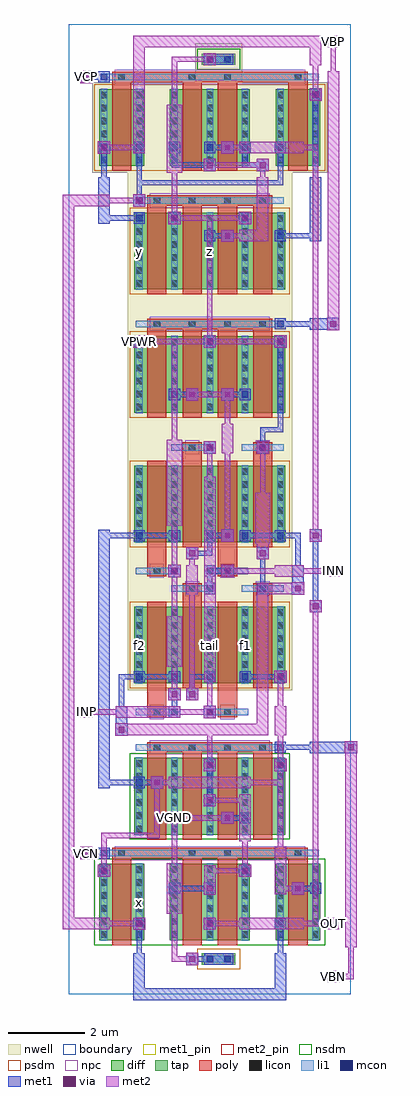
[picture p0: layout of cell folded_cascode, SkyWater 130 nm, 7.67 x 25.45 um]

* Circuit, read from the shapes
.subckt folded_cascode INN INP OUT VBN VBP VCN VCP VGND VPWR f1 f2 tail x y z
XM1 x VCN f1 VGND sky130_fd_pr__nfet_01v8 w=2 l=0.5 m=2
XM2 VGND VBN f1 VGND sky130_fd_pr__nfet_01v8 w=2 l=0.5 m=2
XM3 OUT VCN f2 VGND sky130_fd_pr__nfet_01v8 w=2 l=0.5 m=2
XM4 f2 VBN VGND VGND sky130_fd_pr__nfet_01v8 w=2 l=0.5 m=2
XM5 x VCP y VPWR sky130_fd_pr__pfet_01v8 w=2 l=0.5 m=2
XM6 f2 VPWR f2 VPWR sky130_fd_pr__pfet_01v8 w=2 l=0.5 m=2
XM7 f1 VPWR f1 VPWR sky130_fd_pr__pfet_01v8 w=2 l=0.5 m=2
XM8 tail VBP VPWR VPWR sky130_fd_pr__pfet_01v8 w=2 l=0.5 m=4
XM9 VPWR x y VPWR sky130_fd_pr__pfet_01v8 w=2 l=0.5 m=2
XM10 tail INN f2 VPWR sky130_fd_pr__pfet_01v8 w=2 l=0.5 m=2
XM11 tail INP f1 VPWR sky130_fd_pr__pfet_01v8 w=2 l=0.5 m=2
XM12 z x VPWR VPWR sky130_fd_pr__pfet_01v8 w=2 l=0.5 m=2
XM13 OUT VCP z VPWR sky130_fd_pr__pfet_01v8 w=2 l=0.5 m=2
.ends

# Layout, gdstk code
import gdstk
lib = gdstk.Library(unit=1e-6, precision=1e-09)
def R(c, l, rs):  # rectangles x0, y0, x1, y1
    for r in rs: c.add(gdstk.rectangle(r[:2], r[2:], *l))
def A(c, l, x, y, w, h, nx, ny, dx, dy):  # array of equal rectangles
    R(c, l, [(x+i*dx, y+j*dy, x+i*dx+w, y+j*dy+h) for i in range(nx) for j in range(ny)])
nwell = (64, 20)
diff = (65, 20)
tap = (65, 44)
poly = (66, 20)
licon = (66, 44)
li1 = (67, 20)
mcon = (67, 44)
met1_pin = (68, 16)
met1 = (68, 20)
via = (68, 44)
met2_pin = (69, 16)
met2 = (69, 20)
nsdm = (93, 44)
psdm = (94, 20)
npc = (95, 20)
boundary = (235, 4)

folded_cascode = lib.new_cell('folded_cascode')
R(folded_cascode, nwell, [(1.535,7.925,5.825,21.42), (0.615,21.42,6.745,23.78), (3.295,23.78,4.525,24.8)])
R(folded_cascode, diff, [(0.795,1.405,1.965,3.405), (2.635,1.405,4.725,3.405), (5.395,1.405,6.565,3.405), (1.715,4.165,5.645,6.165), (1.715,8.105,5.645,10.105), (1.715,11.785,5.645,13.785), (1.715,15.16,5.645,17.16), (1.715,18.38,5.645,20.38), (0.795,21.6,1.965,23.6), (2.635,21.6,4.725,23.6), (5.395,21.6,6.565,23.6)])
R(folded_cascode, tap, [(3.475,0.775,4.345,1.065), (3.475,24.235,4.345,24.525)])
A(folded_cascode, poly, 2.05, 4.035, 0.5, 2.405, 4, 1, 0.92, 0)
A(folded_cascode, poly, 2.05, 15.03, 0.5, 2.45, 4, 2, 0.92, 3.22)
R(folded_cascode, poly, [(1.13,1.275,1.63,3.68), (2.97,1.275,3.47,3.68), (3.89,1.275,4.39,3.68), (5.73,1.275,6.23,3.68), (1.13,3.545,6.23,3.815), (2.05,6.305,5.31,6.575), (2.05,7.225,2.55,7.495), (3.89,7.225,4.39,7.495), (2.05,7.36,2.55,10.235), (3.89,7.36,4.39,10.235), (2.97,7.975,3.47,10.58), (4.81,7.975,5.31,10.58), (2.97,10.445,3.47,10.715), (4.81,10.445,5.31,10.715), (2.05,10.905,2.55,11.175), (3.89,10.905,4.39,11.175), (2.05,11.04,2.55,13.915), (3.89,11.04,4.39,13.915), (2.97,11.655,3.47,14.26), (4.81,11.655,5.31,14.26), (2.97,14.125,3.47,14.395), (4.81,14.125,5.31,14.395), (2.05,17.345,5.31,17.615), (2.05,20.565,5.31,20.835), (1.13,21.47,1.63,23.92), (2.97,21.47,3.47,23.92), (3.89,21.47,4.39,23.92), (5.73,21.47,6.23,23.92), (1.13,23.785,6.23,24.055)])
A(folded_cascode, licon, 0.835, 1.47, 0.17, 0.17, 7, 6, 0.92, 0.34)
A(folded_cascode, licon, 4.055, 3.595, 0.17, 0.17, 1, 3, 0, 3.68)
A(folded_cascode, licon, 1.755, 4.23, 0.17, 0.17, 5, 6, 0.92, 0.34)
A(folded_cascode, licon, 2.215, 6.355, 0.17, 0.17, 4, 2, 0.92, 11.04)
A(folded_cascode, licon, 1.755, 8.17, 0.17, 0.17, 5, 6, 0.92, 0.34)
A(folded_cascode, licon, 1.755, 11.85, 0.17, 0.17, 5, 6, 0.92, 0.34)
A(folded_cascode, licon, 1.755, 15.225, 0.17, 0.17, 5, 6, 0.92, 0.34)
A(folded_cascode, licon, 1.755, 18.445, 0.17, 0.17, 5, 6, 0.92, 0.34)
A(folded_cascode, licon, 2.215, 20.615, 0.17, 0.17, 4, 1, 0.92, 0)
A(folded_cascode, licon, 0.835, 21.665, 0.17, 0.17, 7, 6, 0.92, 0.34)
R(folded_cascode, licon, [(3.595,0.835,3.765,1.005), (4.055,0.835,4.225,1.005), (1.295,3.595,1.465,3.765), (3.135,3.595,3.305,3.765), (5.895,3.595,6.065,3.765), (2.215,7.275,2.385,7.445), (3.135,10.495,3.305,10.665), (4.975,10.495,5.145,10.665), (2.215,10.955,2.385,11.125), (3.135,14.175,3.305,14.345), (4.975,14.175,5.145,14.345), (1.295,23.835,1.465,24.005), (3.135,23.835,3.305,24.005), (4.055,23.835,4.225,24.005), (5.895,23.835,6.065,24.005), (3.595,24.295,3.765,24.465), (4.055,24.295,4.225,24.465)])
A(folded_cascode, li1, 0.835, 1.39, 0.17, 2.03, 7, 2, 0.92, 20.195)
A(folded_cascode, li1, 1.755, 4.15, 0.17, 2.03, 5, 2, 0.92, 3.94)
A(folded_cascode, li1, 1.755, 11.77, 0.17, 2.03, 5, 2, 0.92, 3.375)
A(folded_cascode, li1, 1.755, 18.365, 0.17, 2.03, 5, 1, 0.92, 0)
R(folded_cascode, li1, [(3.515,0.835,4.305,1.005), (0.835,3.595,6.525,3.765), (1.755,6.355,5.605,6.525), (1.755,7.275,2.845,7.445), (3.595,7.275,4.685,7.445), (2.675,10.495,3.765,10.665), (4.515,10.495,5.605,10.665), (1.755,10.955,2.845,11.125), (3.595,10.955,4.685,11.125), (2.675,14.175,3.765,14.345), (4.515,14.175,5.605,14.345), (1.755,17.395,5.605,17.565), (1.755,20.615,5.605,20.785), (0.835,23.835,6.525,24.005), (3.515,24.295,4.305,24.465)])
A(folded_cascode, mcon, 1.755, 1.755, 0.17, 0.17, 3, 2, 1.84, 15.18)
A(folded_cascode, mcon, 1.755, 8.195, 0.17, 0.17, 5, 2, 0.92, 3.68)
A(folded_cascode, mcon, 2.675, 10.955, 0.17, 0.17, 1, 3, 0, 4.6)
A(folded_cascode, mcon, 0.835, 21.995, 0.17, 0.17, 6, 1, 0.92, 0)
R(folded_cascode, mcon, [(3.595,0.835,3.765,1.005), (4.055,0.835,4.225,1.005), (2.675,2.675,2.845,2.845), (6.355,2.675,6.525,2.845), (0.835,3.135,1.005,3.305), (4.515,3.135,4.685,3.305), (0.835,3.595,1.005,3.765), (2.675,4.515,2.845,4.685), (4.515,4.515,4.685,4.685), (1.755,5.435,1.925,5.605), (3.595,5.895,3.765,6.065), (5.435,5.895,5.605,6.065), (5.435,6.355,5.605,6.525), (2.675,7.275,2.845,7.445), (3.595,7.275,3.765,7.445), (3.595,10.495,3.765,10.665), (4.975,10.495,5.145,10.665), (3.595,10.955,3.765,11.125), (3.595,14.175,3.765,14.345), (4.975,14.175,5.145,14.345), (4.515,15.555,4.685,15.725), (5.435,17.395,5.605,17.565), (3.595,19.695,3.765,19.865), (5.435,19.695,5.605,19.865), (1.755,20.155,1.925,20.325), (4.515,20.155,4.685,20.325), (1.755,20.615,1.925,20.785), (6.355,23.375,6.525,23.545), (0.835,23.835,1.005,24.005), (3.595,24.295,3.765,24.465), (4.055,24.295,4.225,24.465)])
R(folded_cascode, met1_pin, [(2.615,4.455,2.905,4.745), (1.695,16.875,1.985,17.165)])
A(folded_cascode, met1, 1.695, 1.695, 0.29, 0.29, 3, 2, 1.84, 15.18)
A(folded_cascode, met1, 2.6, 4.44, 0.32, 0.32, 1, 3, 0, 3.22)
A(folded_cascode, met1, 1.695, 8.135, 0.29, 0.29, 5, 2, 0.92, 3.68)
A(folded_cascode, met1, 2.615, 10.895, 0.29, 0.29, 1, 3, 0, 4.6)
A(folded_cascode, met1, 1.68, 16.86, 0.32, 0.32, 3, 1, 1.84, 0)
A(folded_cascode, met1, 0.775, 21.935, 0.29, 0.29, 6, 1, 0.92, 0)
R(folded_cascode, met1, [(1.69,-0.15,5.67,0.15), (1.69,-0.15,1.99,1.07), (5.37,-0.15,5.67,1.07), (3.06,0.76,3.38,1.08), (3.535,0.775,4.285,1.065), (1.77,0.85,1.91,1.91), (3.15,0.85,3.75,0.99), (3.61,0.85,3.75,0.99), (5.45,0.85,5.59,1.91), (1.68,1.68,2,2), (3.52,1.68,3.84,2), (3.52,2.6,3.84,2.92), (5.82,2.6,6.14,2.92), (2.615,2.615,2.905,2.905), (6.295,2.615,6.585,2.905), (2.69,2.69,3.75,2.83), (5.91,2.69,6.51,2.83), (0.76,3.06,1.08,3.38), (4.44,3.06,4.76,3.38), (0.775,3.075,1.065,3.365), (4.455,3.075,4.745,3.365), (0.3,3.52,0.62,3.84), (0.775,3.535,1.065,3.825), (0.39,3.61,0.99,3.75), (3.98,4.44,4.3,4.76), (2.615,4.455,2.905,4.745), (4.455,4.455,4.745,4.745), (4.07,4.53,4.67,4.67), (3.52,4.9,3.84,5.22), (3.61,4.99,3.75,6.05), (2.14,5.36,2.46,5.68), (0.77,5.37,1.07,12.11), (1.695,5.375,1.985,5.665), (0.85,5.45,1.91,5.59), (1.77,5.45,2.37,5.59), (3.52,5.82,3.84,6.14), (5.36,5.82,5.68,6.14), (3.535,5.835,3.825,6.125), (5.375,5.835,5.665,6.125), (7.2,6.28,7.52,6.6), (6.29,6.29,7.51,6.59), (5.375,6.295,5.665,6.585), (5.45,6.37,6.51,6.51), (1.22,6.74,1.54,7.06), (1.23,6.75,1.53,7.51), (3.52,7.2,3.84,7.52), (2.615,7.215,2.905,7.505), (3.535,7.215,3.825,7.505), (1.31,7.29,1.45,8.35), (2.69,7.29,2.83,7.89), (3.06,7.66,3.38,7.98), (3.15,7.75,3.29,8.35), (5.36,8.12,5.68,8.44), (1.31,8.21,1.91,8.35), (1.77,8.21,2.83,8.35), (3.15,8.21,3.75,8.35), (4.53,8.21,5.59,8.35), (6.28,9.96,6.6,10.28), (6.37,10.05,6.51,12.03), (5.82,10.42,6.14,10.74), (5.83,10.43,6.13,11.19), (3.535,10.435,3.825,10.725), (4.915,10.435,5.205,10.725), (3.61,10.51,3.75,11.11), (4.99,10.51,5.13,11.57), (3.98,10.88,4.3,11.2), (3.535,10.895,3.825,11.185), (3.61,10.97,4.21,11.11), (5.91,10.97,6.05,12.03), (3.06,11.34,3.38,11.66), (4.9,11.34,5.22,11.66), (3.15,11.43,3.75,11.57), (3.61,11.43,3.75,12.03), (3.98,11.8,4.3,12.12), (6.28,11.8,6.6,12.12), (0.85,11.89,1.91,12.03), (1.77,11.89,2.83,12.03), (3.61,11.89,4.21,12.03), (4.53,11.89,5.59,12.03), (5.45,11.89,6.05,12.03), (3.52,14.1,3.84,14.42), (4.9,14.1,5.22,14.42), (3.535,14.115,3.825,14.405), (4.915,14.115,5.205,14.405), (4.99,14.19,5.13,14.79), (4.99,14.65,5.59,14.79), (5.45,14.65,5.59,17.09), (3.06,15.48,3.38,15.8), (3.98,15.48,4.3,15.8), (4.455,15.495,4.745,15.785), (2.69,15.57,3.29,15.71), (4.07,15.57,4.67,15.71), (6.74,17.32,7.06,17.64), (6.29,17.33,7.05,17.63), (5.375,17.335,5.665,17.625), (5.45,17.41,6.51,17.55), (3.98,19.62,4.3,19.94), (6.29,19.63,6.59,21.31), (3.535,19.635,3.825,19.925), (5.375,19.635,5.665,19.925), (3.61,19.71,4.21,19.85), (5.45,19.71,6.51,19.85), (2.6,20.08,2.92,20.4), (4.44,20.08,4.76,20.4), (0.77,20.09,1.07,21.31), (1.695,20.095,1.985,20.385), (4.455,20.095,4.745,20.385), (0.85,20.17,1.91,20.31), (1.68,20.54,2,20.86), (1.695,20.555,1.985,20.845), (1.77,20.63,1.91,22.15), (0.85,21.09,0.99,22.15), (1.77,21.09,5.59,21.23), (5.45,21.09,5.59,22.15), (6.37,21.09,6.51,23.53), (3.52,21.46,3.84,21.78), (4.9,21.46,5.22,21.78), (2.69,21.55,2.83,22.15), (2.69,21.55,3.75,21.69), (4.53,21.55,5.13,21.69), (4.53,21.55,4.67,22.15), (0.76,21.92,1.08,22.24), (3.98,21.92,4.3,22.24), (3.61,22.01,4.21,22.15), (6.28,23.3,6.6,23.62), (6.295,23.315,6.585,23.605), (0.3,23.76,0.62,24.08), (0.775,23.775,1.065,24.065), (0.39,23.85,0.99,23.99), (3.52,24.22,3.84,24.54), (3.535,24.235,4.285,24.525), (3.61,24.31,3.75,24.45)])
A(folded_cascode, via, 2.685, 4.525, 0.15, 0.15, 1, 3, 0, 3.22)
A(folded_cascode, via, 1.765, 16.945, 0.15, 0.15, 3, 1, 1.84, 0)
R(folded_cascode, via, [(3.145,0.845,3.295,0.995), (1.765,1.765,1.915,1.915), (3.605,1.765,3.755,1.915), (3.605,2.685,3.755,2.835), (5.905,2.685,6.055,2.835), (0.845,3.145,0.995,3.295), (4.525,3.145,4.675,3.295), (0.385,3.605,0.535,3.755), (4.065,4.525,4.215,4.675), (3.605,4.985,3.755,5.135), (2.225,5.445,2.375,5.595), (3.605,5.905,3.755,6.055), (5.445,5.905,5.595,6.055), (7.285,6.365,7.435,6.515), (1.305,6.825,1.455,6.975), (3.605,7.285,3.755,7.435), (3.145,7.745,3.295,7.895), (5.445,8.205,5.595,8.355), (6.365,10.045,6.515,10.195), (5.905,10.505,6.055,10.655), (4.065,10.965,4.215,11.115), (3.145,11.425,3.295,11.575), (4.985,11.425,5.135,11.575), (4.065,11.885,4.215,12.035), (6.365,11.885,6.515,12.035), (3.605,14.185,3.755,14.335), (4.985,14.185,5.135,14.335), (3.145,15.565,3.295,15.715), (4.065,15.565,4.215,15.715), (6.825,17.405,6.975,17.555), (4.065,19.705,4.215,19.855), (2.685,20.165,2.835,20.315), (4.525,20.165,4.675,20.315), (1.765,20.625,1.915,20.775), (3.605,21.545,3.755,21.695), (4.985,21.545,5.135,21.695), (0.845,22.005,0.995,22.155), (4.065,22.005,4.215,22.155), (6.365,23.385,6.515,23.535), (0.385,23.845,0.535,23.995), (3.605,24.305,3.755,24.455)])
R(folded_cascode, met2_pin, [(6.75,0.31,7.05,0.61), (6.75,1.69,7.05,1.99), (0.31,3.53,0.61,3.83), (0.31,7.21,0.61,7.51), (6.75,10.89,7.05,11.19), (0.31,23.77,0.61,24.07), (6.75,24.69,7.05,24.99)])
A(folded_cascode, met2, 2.6, 4.44, 0.32, 0.32, 1, 3, 0, 3.22)
A(folded_cascode, met2, 1.68, 16.86, 0.32, 0.32, 3, 1, 1.84, 0)
R(folded_cascode, met2, [(6.75,0.31,7.05,0.61), (6.83,0.39,7.43,0.53), (6.83,0.39,6.97,0.53), (7.29,0.39,7.43,1.45), (3.06,0.76,3.38,1.08), (2.69,0.85,2.83,2.37), (2.69,0.85,3.29,0.99), (7.21,1.23,7.51,6.59), (1.68,1.68,2,2), (3.52,1.68,3.84,2), (-0.15,1.69,0.15,20.85), (-0.15,1.69,1.07,1.99), (4.45,1.69,6.13,1.99), (6.75,1.69,7.05,1.99), (0.85,1.77,1.91,1.91), (3.61,1.77,4.67,1.91), (5.91,1.77,6.97,1.91), (6.37,1.77,6.51,10.19), (6.83,1.77,6.97,1.91), (2.56,2.1,2.96,3.42), (3.52,2.6,3.84,2.92), (5.82,2.6,6.14,2.92), (3.53,2.61,3.83,3.37), (5.37,2.61,5.67,3.83), (5.45,2.69,6.05,2.83), (0.76,3.06,1.08,3.38), (4.44,3.06,4.76,3.38), (0.85,3.15,0.99,4.21), (2.69,3.15,2.83,4.67), (3.61,3.15,4.67,3.29), (4.53,3.15,4.67,4.21), (0.3,3.52,0.62,3.84), (0.31,3.53,0.61,3.83), (0.39,3.61,0.53,3.75), (5.45,3.61,5.59,6.05), (4.45,3.99,4.75,5.21), (0.85,4.07,2.37,4.21), (2.23,4.07,2.37,5.59), (3.98,4.44,4.3,4.76), (2.69,4.53,4.21,4.67), (3.52,4.9,3.84,5.22), (3.61,4.99,4.67,5.13), (2.14,5.36,2.46,5.68), (2.61,5.37,4.75,5.67), (2.23,5.45,2.83,5.59), (4.53,5.45,5.59,5.59), (3.52,5.82,3.84,6.14), (5.36,5.82,5.68,6.14), (3.61,5.91,3.75,6.97), (5.45,5.91,5.59,6.97), (7.2,6.28,7.52,6.6), (1.22,6.74,1.54,7.06), (1.23,6.75,3.83,7.05), (3.53,6.75,5.21,7.05), (4.91,6.75,5.21,10.73), (5.37,6.75,5.67,7.51), (3.52,7.2,3.84,7.52), (0.31,7.21,0.61,7.51), (1.23,7.21,2.91,7.51), (0.39,7.29,1.45,7.43), (0.39,7.29,0.53,7.43), (2.69,7.29,3.75,7.43), (3.61,7.29,3.75,8.35), (5.45,7.29,5.59,8.35), (3.06,7.66,3.38,7.98), (2.69,7.75,2.83,8.81), (3.15,7.75,3.29,10.65), (5.36,8.12,5.68,8.44), (3.53,8.13,3.83,13.49), (2.56,8.54,2.96,9.86), (2.69,9.59,2.83,11.11), (6.28,9.96,6.6,10.28), (5.82,10.42,6.14,10.74), (3.07,10.43,3.37,11.19), (4.91,10.43,6.13,10.73), (3.98,10.88,4.3,11.2), (5.37,10.89,6.13,11.19), (6.75,10.89,7.05,11.19), (2.69,10.97,2.83,12.49), (3.15,10.97,3.29,11.57), (4.07,10.97,5.59,11.11), (5.91,10.97,6.97,11.11), (6.83,10.97,6.97,11.11), (3.06,11.34,3.38,11.66), (4.9,11.34,5.22,11.66), (4.99,11.43,5.13,12.03), (4.9,11.66,5.22,11.76), (4.86,11.76,5.26,13.08), (3.98,11.8,4.3,12.12), (6.28,11.8,6.6,12.12), (4.07,11.89,4.21,14.33), (6.37,11.89,6.51,22.15), (2.56,12.22,2.96,14.46), (4.99,12.81,5.13,14.33), (3.61,13.27,3.75,14.33), (3.52,14.1,3.84,14.42), (4.9,14.1,5.22,14.42), (3.99,14.11,4.29,14.87), (2.69,14.19,2.83,17.09), (4.07,14.65,4.21,15.71), (3.06,15.48,3.38,15.8), (3.98,15.48,4.3,15.8), (3.15,15.57,4.21,15.71), (1.77,16.95,3.75,17.09), (3.61,16.95,5.59,17.09), (3.61,16.95,3.75,20.31), (6.74,17.32,7.06,17.64), (6.75,17.33,7.05,24.07), (3.98,19.62,4.3,19.94), (4.45,19.63,5.21,19.93), (4.91,19.63,5.21,21.31), (4.07,19.71,4.67,19.85), (2.6,20.08,2.92,20.4), (4.44,20.08,4.76,20.4), (2.69,20.17,4.67,20.31), (2.69,20.17,2.83,21.69), (1.68,20.54,2,20.86), (-0.15,20.55,1.07,20.85), (0.85,20.63,1.91,20.77), (4.99,21.09,5.13,21.69), (2.56,21.42,2.96,23.2), (3.52,21.46,3.84,21.78), (4.9,21.46,5.22,21.78), (3.61,21.55,5.13,21.69), (0.76,21.92,1.08,22.24), (3.98,21.92,4.3,22.24), (1.69,21.93,1.99,24.99), (4.45,21.93,6.13,22.23), (0.85,22.01,1.91,22.15), (4.07,22.01,4.67,22.15), (5.91,22.01,6.51,22.15), (2.69,22.93,2.83,24.45), (6.28,23.3,6.6,23.62), (6.37,23.39,6.51,24.45), (0.3,23.76,0.62,24.08), (0.31,23.77,0.61,24.07), (0.39,23.85,0.53,23.99), (6.83,23.85,6.97,24.91), (3.52,24.22,3.84,24.54), (6.29,24.23,6.59,24.99), (2.69,24.31,3.75,24.45), (1.69,24.69,6.59,24.99), (6.75,24.69,7.05,24.99), (6.83,24.77,6.97,24.91)])
R(folded_cascode, nsdm, [(0.67,1.28,6.69,3.53), (1.59,4.04,5.77,6.29), (3.35,24.11,4.47,24.65)])
R(folded_cascode, psdm, [(3.35,0.65,4.47,1.19), (1.59,7.98,5.77,10.23), (1.59,11.66,5.77,13.91), (1.59,15.035,5.77,17.285), (1.59,18.255,5.77,20.505), (0.67,21.475,6.69,23.725)])
R(folded_cascode, npc, [(1.195,3.495,6.165,3.865), (2.115,6.255,5.245,6.625), (2.115,7.175,2.485,7.545), (3.955,7.175,4.325,7.545), (3.035,10.395,3.405,10.765), (4.875,10.395,5.245,10.765), (2.115,10.855,2.485,11.225), (3.955,10.855,4.325,11.225), (3.035,14.075,3.405,14.445), (4.875,14.075,5.245,14.445), (2.115,17.295,5.245,17.665), (2.115,20.515,5.245,20.885), (1.195,23.735,6.165,24.105)])
R(folded_cascode, boundary, [(0,0,7.36,25.3)])
folded_cascode.add(gdstk.Label('f2', (1.84,9.105), layer=67, texttype=5))
folded_cascode.add(gdstk.Label('tail', (3.68,9.105), layer=67, texttype=5))
folded_cascode.add(gdstk.Label('f1', (4.6,9.105), layer=67, texttype=5))
folded_cascode.add(gdstk.Label('x', (1.84,2.405), layer=67, texttype=5))
folded_cascode.add(gdstk.Label('y', (1.84,19.38), layer=67, texttype=5))
folded_cascode.add(gdstk.Label('z', (3.68,19.38), layer=67, texttype=5))
folded_cascode.add(gdstk.Label('VPWR', (1.84,17.02), layer=68, texttype=5))
folded_cascode.add(gdstk.Label('VGND', (2.76,4.6), layer=68, texttype=5))
folded_cascode.add(gdstk.Label('INP', (0.46,7.36), layer=69, texttype=5))
folded_cascode.add(gdstk.Label('INN', (6.9,11.04), layer=69, texttype=5))
folded_cascode.add(gdstk.Label('VBP', (6.9,24.84), layer=69, texttype=5))
folded_cascode.add(gdstk.Label('VBN', (6.9,0.46), layer=69, texttype=5))
folded_cascode.add(gdstk.Label('VCN', (0.46,3.68), layer=69, texttype=5))
folded_cascode.add(gdstk.Label('VCP', (0.46,23.92), layer=69, texttype=5))
folded_cascode.add(gdstk.Label('OUT', (6.9,1.84), layer=69, texttype=5))
folded_cascode.add(gdstk.Label('VPWR', (1.84,17.02), layer=68, texttype=16))
folded_cascode.add(gdstk.Label('VGND', (2.76,4.6), layer=68, texttype=16))
folded_cascode.add(gdstk.Label('INP', (0.46,7.36), layer=69, texttype=16))
folded_cascode.add(gdstk.Label('INN', (6.9,11.04), layer=69, texttype=16))
folded_cascode.add(gdstk.Label('VBP', (6.9,24.84), layer=69, texttype=16))
folded_cascode.add(gdstk.Label('VBN', (6.9,0.46), layer=69, texttype=16))
folded_cascode.add(gdstk.Label('VCN', (0.46,3.68), layer=69, texttype=16))
folded_cascode.add(gdstk.Label('VCP', (0.46,23.92), layer=69, texttype=16))
folded_cascode.add(gdstk.Label('OUT', (6.9,1.84), layer=69, texttype=16))

lib.write_gds('folded_cascode.gds')
